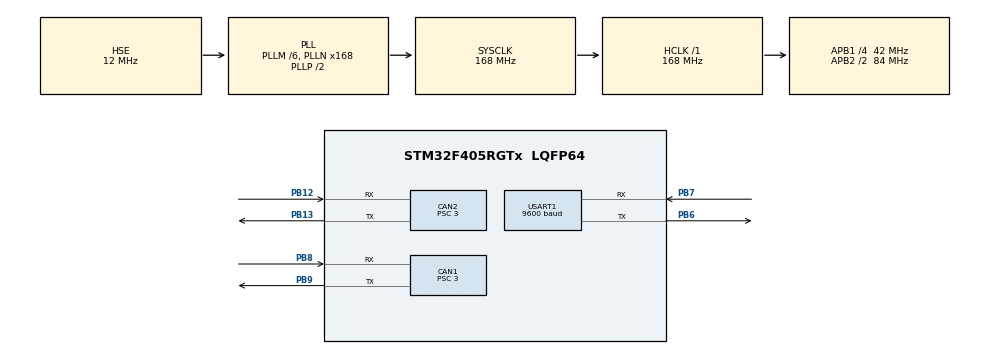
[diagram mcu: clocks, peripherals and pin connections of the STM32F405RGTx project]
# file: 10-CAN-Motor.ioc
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CAN1.BS1=CAN_BS1_9TQ
CAN1.BS2=CAN_BS2_4TQ
CAN1.CalculateTimeQuantum=71.42857142857143
CAN1.Prescaler=3
CAN2.BS1=CAN_BS1_9TQ
CAN2.BS2=CAN_BS2_4TQ
CAN2.CalculateTimeQuantum=71.42857142857143
CAN2.Prescaler=3
Mcu.Family=STM32F4
Mcu.Name=STM32F405RGTx
Mcu.Package=LQFP64
NVIC.CAN1_RX0_IRQn=true\:1\:1\:true\:false\:true\:true\:true
NVIC.CAN1_RX1_IRQn=true\:1\:1\:true\:false\:true\:true\:true
NVIC.CAN1_TX_IRQn=true\:1\:2\:true\:false\:true\:true\:true
NVIC.CAN2_RX0_IRQn=true\:1\:0\:true\:false\:true\:true\:true
NVIC.CAN2_RX1_IRQn=true\:1\:0\:true\:false\:true\:true\:true
NVIC.CAN2_TX_IRQn=true\:1\:2\:true\:false\:true\:true\:true
NVIC.PriorityGroup=NVIC_PRIORITYGROUP_2
PA13.Mode=Serial_Wire
PA13.Signal=SYS_JTMS-SWDIO
PA14.Mode=Serial_Wire
PA14.Signal=SYS_JTCK-SWCLK
PB12.Mode=Slave
PB12.Signal=CAN2_RX
PB13.Mode=Slave
PB13.Signal=CAN2_TX
PB6.Mode=Asynchronous
PB6.Signal=USART1_TX
PB7.Mode=Asynchronous
PB7.Signal=USART1_RX
PB8.Mode=Master
PB8.Signal=CAN1_RX
PB9.Mode=Master
PB9.Signal=CAN1_TX
PH0-OSC_IN.Mode=HSE-External-Oscillator
PH0-OSC_IN.Signal=RCC_OSC_IN
PH1-OSC_OUT.Mode=HSE-External-Oscillator
PH1-OSC_OUT.Signal=RCC_OSC_OUT
ProjectManager.HeapSize=0x200
ProjectManager.StackSize=0x400
ProjectManager.TargetToolchain=MDK-ARM V5.27
RCC.48MHZClocksFreq_Value=84000000
RCC.AHBFreq_Value=168000000
RCC.APB1CLKDivider=RCC_HCLK_DIV4
RCC.APB1Freq_Value=42000000
RCC.APB1TimFreq_Value=84000000
RCC.APB2CLKDivider=RCC_HCLK_DIV2
RCC.APB2Freq_Value=84000000
RCC.APB2TimFreq_Value=168000000
RCC.CortexFreq_Value=168000000
RCC.HCLKFreq_Value=168000000
RCC.HSE_VALUE=12000000
RCC.HSI_VALUE=16000000
RCC.LSE_VALUE=32768
RCC.PLLM=6
RCC.PLLN=168
RCC.PLLSourceVirtual=RCC_PLLSOURCE_HSE
RCC.SYSCLKFreq_VALUE=168000000
RCC.SYSCLKSource=RCC_SYSCLKSOURCE_PLLCLK
RCC.VCOOutputFreq_Value=336000000
USART1.BaudRate=9600
USART1.VirtualMode=VM_ASYNC
board=custom

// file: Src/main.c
/* USER CODE BEGIN Header */
/**
  ******************************************************************************
  * @file           : main.c
  * @brief          : Main program body
  ******************************************************************************
  * @attention
  *
  * <h2><center>&copy; Copyright (c) 2020 STMicroelectronics.
  * All rights reserved.</center></h2>
  *
  * This software component is licensed by ST under BSD 3-Clause license,
  * the "License"; You may not use this file except in compliance with the
  * License. You may obtain a copy of the License at:
  *                        opensource.org/licenses/BSD-3-Clause
  *
  ******************************************************************************
  */
/* USER CODE END Header */

#include "main.h"
#include "can.h"
#include "usart.h"
#include "gpio.h"

/* USER CODE BEGIN Includes */
#include "stdio.h"
#include "USER_CAN.h"
/* USER CODE END Includes */

/* USER CODE BEGIN PV */
extern MotorBack CAN1_Motor[CAN1_Motor_NUM];	//CAN1上的所有电机回馈信息
/* USER CODE END PV */

void SystemClock_Config(void);

/* USER CODE BEGIN 0 */
int fputc(int ch, FILE *f)
{
	HAL_UART_Transmit(&huart1,(uint8_t *)&ch,1,0xffff);
	return (ch);
}
/* USER CODE END 0 */

int main(void)
{

  /* MCU Configuration--------------------------------------------------------*/

  /* Reset of all peripherals, Initializes the Flash interface and the Systick. */
  HAL_Init();

  /* Configure the system clock */
  SystemClock_Config();

  /* Initialize all configured peripherals */
  MX_GPIO_Init();
  MX_CAN1_Init();
  MX_USART1_UART_Init();
  MX_CAN2_Init();
  /* USER CODE BEGIN 2 */
	can_filter_init();
  /* USER CODE END 2 */

  /* Infinite loop */
  /* USER CODE BEGIN WHILE */
	CAN1_OPerate_Motor(1,2500);
	CAN1_OPerate_Motor(5,500);
  while (1)
  {
		CAN1_to_Motor(0x200);
		printf("Angle = %d\r\n\
Speed = %d\r\n\
Given_Current = %d\r\n\
Temperate = %d\r\n",
CAN1_Motor[0].Angle,
CAN1_Motor[0].Speed,
CAN1_Motor[0].Given_Current,
CAN1_Motor[0].Temperate);
		HAL_Delay(10);
    /* USER CODE END WHILE */

  }
}

void SystemClock_Config(void)
{
  RCC_OscInitTypeDef RCC_OscInitStruct = {0};
  RCC_ClkInitTypeDef RCC_ClkInitStruct = {0};

  /** Configure the main internal regulator output voltage
  */
  __HAL_RCC_PWR_CLK_ENABLE();
  __HAL_PWR_VOLTAGESCALING_CONFIG(PWR_REGULATOR_VOLTAGE_SCALE1);
  /** Initializes the CPU, AHB and APB busses clocks
  */
  RCC_OscInitStruct.OscillatorType = RCC_OSCILLATORTYPE_HSE;
  RCC_OscInitStruct.HSEState = RCC_HSE_ON;
  RCC_OscInitStruct.PLL.PLLState = RCC_PLL_ON;
  RCC_OscInitStruct.PLL.PLLSource = RCC_PLLSOURCE_HSE;
  RCC_OscInitStruct.PLL.PLLM = 6;
  RCC_OscInitStruct.PLL.PLLN = 168;
  RCC_OscInitStruct.PLL.PLLP = RCC_PLLP_DIV2;
  RCC_OscInitStruct.PLL.PLLQ = 4;
  if (HAL_RCC_OscConfig(&RCC_OscInitStruct) != HAL_OK)
  {
    Error_Handler();
  }
  /** Initializes the CPU, AHB and APB busses clocks
  */
  RCC_ClkInitStruct.ClockType = RCC_CLOCKTYPE_HCLK|RCC_CLOCKTYPE_SYSCLK
                              |RCC_CLOCKTYPE_PCLK1|RCC_CLOCKTYPE_PCLK2;
  RCC_ClkInitStruct.SYSCLKSource = RCC_SYSCLKSOURCE_PLLCLK;
  RCC_ClkInitStruct.AHBCLKDivider = RCC_SYSCLK_DIV1;
  RCC_ClkInitStruct.APB1CLKDivider = RCC_HCLK_DIV4;
  RCC_ClkInitStruct.APB2CLKDivider = RCC_HCLK_DIV2;

  if (HAL_RCC_ClockConfig(&RCC_ClkInitStruct, FLASH_LATENCY_5) != HAL_OK)
  {
    Error_Handler();
  }
}

void Error_Handler(void)
{
}

/************************ (C) COPYRIGHT STMicroelectronics *****END OF FILE****/
